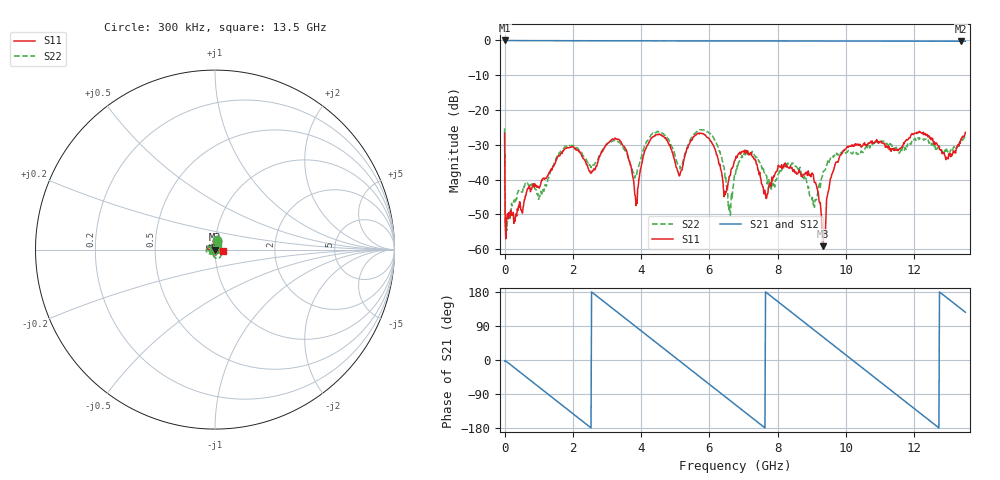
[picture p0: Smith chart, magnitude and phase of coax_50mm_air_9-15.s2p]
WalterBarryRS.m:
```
% code based on Walter Barry paper for stripline, is effective for coax
% airlines as well.
eps0=8.85418782e-12; % F/m
mu0=1.2566370614e-6; % H/m
c0=1/sqrt(eps0*mu0);
eta0=sqrt(mu0/eps0); % free space
material_width = 1.78e-3;
device_length = 50e-3;
%epsT = 17 - 0.1*1i;
%muT = 6 - 6i*3;
l = (device_length + 67.75e-3 - material_width)/2;
t = material_width;
%%
airFile = 'coax_50mm_air_9-15.s2p';
filelength = 203;
fftlength = 801;
%[a11,a21,a12,a22,frequency] = s2pToComplexSParam(airFile,filelength);
%a11 = (a11 + a22)/2;
%a21 = (a21 + a12)/2;
materialFile = 'coax_50mm_dd13490_1p78mm_9-20_RS.dat';
[s11,s21,s12,s22,m_frequency] = s2pToComplexSParam_v2(materialFile,filelength);
fudgeFactor = (unwrap(angle(s11)) - unwrap(angle(s22)))/2;
s11 = s11.*exp(-1i*fudgeFactor);
s22 = s22.*exp(1i*fudgeFactor);
s21 = (s21 + s12)/2;
%%
%Theoretical values
%case frequency dependent
%
load(sprintf('%s\\Materials\\dd13490_data.mat',pwd))
permittivity = real_mittiv - 1i*imag_mittiv;
permeability = real_meab - 1i*imag_meab;
t_frequency = frequency*1e9;
[t11,t21] = generateSParamters2(permittivity,permeability,device_length,material_width,frequency*1e9);
%}
%case static
%{
theoryKt = k0*sqrt(epsT*muT)*t;
[theory11,theory12,theory21,theory22] = generateSParamters(epsT,muT,t,m_frequency);
t11 = theory11.*exp(-1i*2*k0*l);
t21 = theory21.*exp(-1i*2*k0*l);
%}
%%
k0 = 2*pi*m_frequency/c0;
beta=2*pi*m_frequency/c0;
%{
time_air21=ifft(a21,8000);
time_med21=ifft(s21,8000);
[~,c1]=max(abs(time_air21));
time(:,1)=1:1:length(time_air21);
win_length = 25000;
t_win21=exp(-(time-c1).^2/win_length);
time_s21_filter=t_win21.*time_med21;
time_a21_filter= t_win21.*time_air21;
temp_s21=fft(time_s21_filter);
temp_a21=fft(time_a21_filter);
filtered_s21=temp_s21(1:fftlength);
filtered_a21=temp_a21(1:fftlength);
%}
%%
%{
time_air11=ifft(a11,8000);
time_med11=ifft(s11,8000);
[tt,c2]=max(abs(time_med11));
t_win11=exp(-(time-c2).^2/(win_length*2));
time_s11_filter=t_win11.*time_med11;
time_a11_filter=t_win11.*time_air11;
temp_s11=fft(time_s21_filter);
temp_a11=fft(time_a11_filter);
filtered_s11=temp_s11(1:fftlength);
filtered_a11=temp_a11(1:fftlength);
%}
%{
figure(5)
plot(t_win11*tt,'g--','linewidth',2)
legend('window')
hold on
plot(time,abs(time_air11),time,abs(time_med11))
legend('window','air','material')
xlim([(c1 - 1000) (c1 + 1000)])
title('S11 Time gating based on MUT')
xlabel('Time Position')
%}
%%
arg = (exp(-1i*4*k0*l) + s21.^2 - s11.^2)./(2*exp(-1i*2*k0*l).*s21);
kt = acos(arg);
tk0 = 2*pi*t_frequency*1e9/c0;
tArg = (exp(-1i*4*tk0*l) + t21.^2 - t11.^2)./(2*exp(-1i*2*tk0*l).*t21);
tTheta = atan2(imag(tArg + sqrt(tArg.^2 - 1)),real(tArg + sqrt(tArg.^2 - 1)));
tG = abs(tArg + sqrt(tArg.^2 - 1));
tKt = acos(tArg);

figure;
subplot(221)
%yyaxis left
plot(m_frequency/1e9,unwrap(angle(s11)),frequency, unwrap(angle(t11)))
ylabel('Phase')
yyaxis right
plot(m_frequency(2:end)/1e9,diff(unwrap(angle(s11))),frequency(2:end), diff(unwrap(angle(t11))))
%ylim([-2 2])
xlabel('Frequency')
%ylabel('Offset \pi')
%legend('measured', 'theory','Location','northeast','Orientation','horizontal')
title('S11 Phase')
%xlim([1 10])
grid on
subplot(222)
yyaxis left
plot(m_frequency/1e9,unwrap(angle(s21)),frequency, unwrap(angle(t21)))
ylabel('Phase')
yyaxis right
plot(m_frequency(2:end)/1e9,diff(unwrap(angle(s21))),frequency(2:end), diff(unwrap(angle(t21))))
%ylim([-2 2])
xlabel('Frequency')
%ylabel('Offset \pi')
xlabel('Frequency')
legend('measured', 'theory','Location','northeast','Orientation','horizontal')
title('S21 Phase')
%xlim([1 10])
grid on
subplot(223)
plot(m_frequency/1e9,abs(s11),frequency, abs(t11))
xlabel('Frequency')
ylabel('Magnitude')
legend('measured', 'theory','Location','northeast','Orientation','horizontal')
title('S11 Magnitude')
%xlim([1 10])
grid on
subplot(224)
plot(m_frequency/1e9,abs(s21),frequency, abs(t21))
xlabel('Frequency')
ylabel('Magnitude')
legend('measured', 'theory','Location','northeast','Orientation','horizontal')
title('S21 Magnitude')
%xlim([1 10])
grid on
%}

%%
%{
figure;
subplot(221)
yyaxis left
plot(frequency/1e9, abs(theoryKt), frequency/1e9, abs(kt), frequency/1e9, abs(tKt))
ylabel('Magnitude')
yyaxis right
plot(frequency/1e9, angle(theoryKt), frequency/1e9, angle(kt), frequency/1e9, angle(tKt))
xlabel('frequency (GHz)')
ylabel('Phase')
legend('theory','experiment','theory derived')
title('Propagation Constant X material thickness (kt)')
grid on
subplot(222)
plot(frequency/1e9, abs(expanded_R), frequency/1e9, abs(expanded_Rt))
%ylim([0 10])
xlabel('frequency (GHz)')
ylabel('Magnitude')
legend('experiment','theory derived')
title('Reflection Coefficient')
%ylim([0 5])
grid on
subplot(223)
plot(frequency/1e9, real(expanded_epsilon), frequency/1e9, imag(expanded_epsilon)...
    , frequency/1e9, real(expanded_epsilont), frequency/1e9, imag(expanded_epsilont))
xlabel('frequency (GHz)')
ylabel('Magnitude')
legend('\epsilon\prime', '\epsilon\prime\prime','theory \epsilon\prime',...
    'theory \epsilon\prime\prime')
title('Permittivity')
%ylim([-5 5])
grid on
subplot(224)
plot(frequency/1e9, real(expanded_mu), frequency/1e9, imag(expanded_mu),...
    frequency/1e9, real(expanded_mut), frequency/1e9, imag(expanded_mut))
xlabel('frequency (GHz)')
ylabel('Magnitude')
%ylim([-5 5])
legend('\mu\prime', '\mu\prime\prime','theory \mu\prime', 'theory \mu\prime\prime')
title('Permeability')
grid on
%}
%{
figure;
subplot(211)
plot(m_frequency/1e9, real(expanded_epsilon), m_frequency/1e9, imag(expanded_epsilon))
xlabel('frequency (GHz)')
ylabel('Magnitude')
legend('\epsilon\prime', '\epsilon\prime\prime')
title('Permittivity')
%ylim([-5 5])
%xlim([1 20])
grid on
subplot(212)
plot(m_frequency/1e9, real(expanded_mu), m_frequency/1e9, imag(expanded_mu))
xlabel('frequency (GHz)')
ylabel('Magnitude')
%ylim([-5 5])
%xlim([1 20])
legend('\mu\prime', '\mu\prime\prime')
title('Permeability')
grid on
%}
figure;
subplot(221)
yyaxis left
plot(t_frequency/1e9, abs(theoryKt), m_frequency/1e9, abs(kt), t_frequency/1e9, abs(tKt))
ylabel('Magnitude')
yyaxis right
plot(t_frequency/1e9, angle(theoryKt), m_frequency/1e9, angle(kt), t_frequency/1e9, angle(tKt))
xlabel('frequency (GHz)')
ylabel('Phase')
legend('theory','experiment','theory derived')
title('Propagation Constant X material thickness (kt)')
grid on
subplot(222)
plot(m_frequency/1e9, abs(expanded_R), t_frequency/1e9, abs(expanded_Rt))
%ylim([0 10])
xlabel('frequency (GHz)')
ylabel('Magnitude')
legend('experiment','theory derived')
title('Reflection Coefficient')
%ylim([0 5])
grid on
subplot(223)
plot(m_frequency/1e9, real(expanded_epsilon), m_frequency/1e9, imag(expanded_epsilon)...
    , t_frequency/1e9, real(expanded_epsilont), t_frequency/1e9, imag(expanded_epsilont))
xlabel('frequency (GHz)')
ylabel('Magnitude')
legend('\epsilon\prime', '\epsilon\prime\prime','theory \epsilon\prime',...
    'theory \epsilon\prime\prime')
title('Permittivity')
ylim([-5 5])
grid on
subplot(224)
plot(m_frequency/1e9, real(expanded_mu), m_frequency/1e9, imag(expanded_mu),...
    t_frequency/1e9, real(expanded_mut), t_frequency/1e9, imag(expanded_mut))
xlabel('frequency (GHz)')
ylabel('Magnitude')
ylim([-5 5])
legend('\mu\prime', '\mu\prime\prime','theory \mu\prime', 'theory \mu\prime\prime')
title('Permeability')
grid on
```
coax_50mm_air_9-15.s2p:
!Agilent Technologies,N5230C,MY48100320,A.08.04.10
!Agilent N5230C: A.08.04.10
!Date: Thursday, September 15, 2016 17:43:16
!Correction: S11(Full 2 Port(1,2))
!S21(Full 2 Port(1,2))
!S12(Full 2 Port(1,2))
!S22(Full 2 Port(1,2))
!S2P File: Measurements: S11, S21, S12, S22:
# Hz S  MA  R 50
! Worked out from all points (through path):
!   801 points, 300 kHz to 13.5 GHz, reference 50 ohm
!   highest |S21| = 0.00 dB at 17.17 MHz (marker M1); lowest = -0.2 dB at 13.37 GHz (marker M2)
!   group delay of S21, straight-line fit = 196 ps
!   lowest |S11| = -59.1 dB at 9.315 GHz (marker M3), VSWR 1.00, Z = 49.9 - j0.058 ohm
!   |S11| at or under -10 dB: start of sweep to end of sweep
!   |S22| runs from -54.6 to -25.2 dB; largest |S21 - S12| = 0.0037
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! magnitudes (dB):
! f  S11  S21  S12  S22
! 300 kHz  -26.7  -0.1  -0.1  -25.2
! 17.17 MHz  -52.3  0.0  0.0  -49.9
! 3.274 GHz  -28.3  -0.1  -0.1  -28.9
! 3.865 GHz  -45.9  -0.1  -0.1  -38.7
! 5.771 GHz  -26.7  -0.1  -0.1  -25.6
! 6.75 GHz  -34.5  -0.1  -0.1  -39.1
! 8.961 GHz  -38.6  -0.2  -0.2  -44.9
! 9.315 GHz  -59.1  -0.2  -0.2  -38.9
! 10.04 GHz  -30.4  -0.2  -0.2  -32.1
! 13.37 GHz  -28.4  -0.2  -0.2  -28.9
! 13.5 GHz  -26.4  -0.2  -0.2  -27.8
